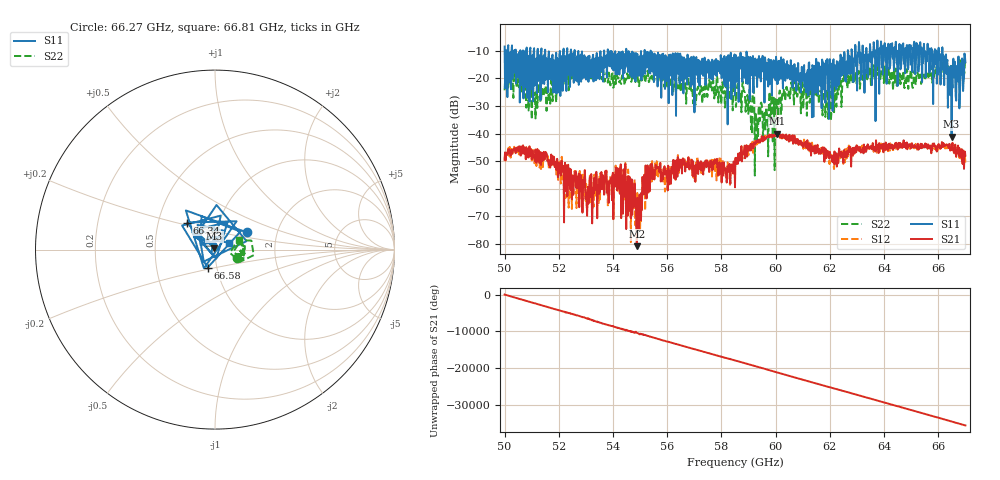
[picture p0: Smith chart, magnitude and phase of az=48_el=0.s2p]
!Created with skrf (http://scikit-rf.org).
# GHz S RI R 50.0
!freq ReS11 ImS11 ReS21 ImS21 ReS12 ImS12 ReS22 ImS22
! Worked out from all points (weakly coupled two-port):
!   1001 points, 50 GHz to 67 GHz, reference 50 ohm
!   highest |S21| = -40.01 dB at 60.05 GHz (marker M1); lowest = -80.8 dB at 54.88 GHz (marker M2)
!   lowest |S11| = -41.1 dB at 66.49 GHz (marker M3), VSWR 1.02, Z = 49.7 + j0.807 ohm
!   |S11| at or under -10 dB: 52.58 GHz to 53.67 GHz (1.087 GHz wide, 2.05 % of centre); 55.39 GHz to 62.66 GHz (7.276 GHz wide, 12.3 % of centre); 66.16 GHz to end of sweep (the widest 3 of 60)
!   |S22| runs from -55.2 to -13.2 dB; largest |S21 - S12| = 0.0019
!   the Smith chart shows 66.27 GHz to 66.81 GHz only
!   S11 on the Smith chart (normalised r, x): 66.27 GHz: 1.40, +0.28; 66.34 GHz: 0.70, +0.22; 66.58 GHz: 0.90, -0.18; 66.81 GHz: 1.16, +0.09
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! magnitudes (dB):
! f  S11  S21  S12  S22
! 50 GHz  -8.5  -49.3  -49.8  -24.3
! 50.42 GHz  -21.9  -45.4  -45.3  -21.2
! 51.07 GHz  -10.3  -48.2  -48.8  -25.9
! 52.84 GHz  -12.6  -56.7  -58.1  -19.7
! 54.2 GHz  -15.3  -59.3  -59.3  -19.6
! 54.88 GHz  -16.4  -80.8  -61.9  -17.7
! 55.19 GHz  -18.4  -61.0  -67.8  -21.6
! 55.68 GHz  -13.6  -52.1  -52.9  -21.2
! 58.5 GHz  -26.2  -59.5  -51.2  -23.8
! 59.11 GHz  -12.9  -44.1  -45.5  -35.7
! 59.3 GHz  -15.0  -42.4  -44.0  -43.4
! 60.05 GHz  -22.0  -40.0  -40.1  -29.2
! 60.64 GHz  -15.5  -43.7  -42.5  -22.7
! 61.34 GHz  -34.1  -44.6  -43.3  -27.5
! 62.17 GHz  -15.1  -46.5  -47.5  -25.7
! 64.18 GHz  -12.1  -43.7  -44.5  -17.8
! 66.27 GHz  -13.9  -44.1  -44.4  -17.8
! 66.34 GHz  -13.3  -44.1  -45.3  -17.5
! 66.49 GHz  -41.1  -45.9  -44.7  -15.5
! 66.58 GHz  -19.3  -46.9  -44.3  -15.7
! 66.81 GHz  -21.3  -45.9  -45.9  -16.8
! 67 GHz  -14.2  -48.0  -50.5  -14.5
